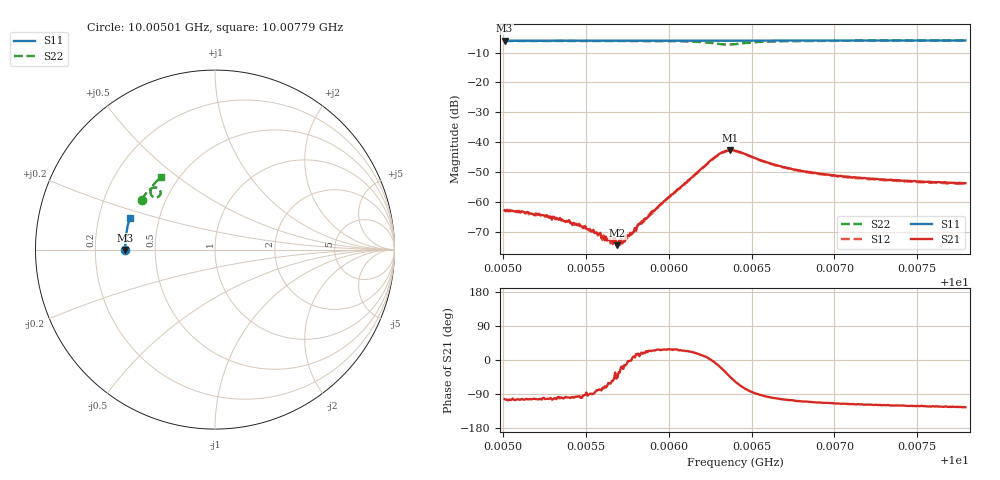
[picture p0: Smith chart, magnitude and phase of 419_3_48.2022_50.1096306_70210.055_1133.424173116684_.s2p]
#  HZ  S  RI  R  50.00
! Rohde & Schwarz Vector Network Analyzer
! Rohde-Schwarz,ZNB20-2Port,1311601062101988,3.16
! Created: UTC 3/20/2024, 11:54:52 AM
! freq[Hz]  re:S11  im:S11  re:S21  im:S21  re:S12  im:S12  re:S22  im:S22
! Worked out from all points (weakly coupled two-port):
!   401 points, 10.00501 GHz to 10.00779 GHz, reference 50 ohm
!   highest |S21| = -42.77 dB at 10.00637 GHz (marker M1); lowest = -74.6 dB at 10.00569 GHz (marker M2)
!   lowest |S11| = -6.0 dB at 10.00501 GHz (marker M3), VSWR 3.00, Z = 16.7 - j0.0757 ohm
!   |S11| at or under -10 dB: nowhere
!   |S22| runs from -7.3 to -6.0 dB; largest |S21 - S12| = 0.00042
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1.0005009e10  -0.4997 -0.0017  -0.000167 -0.000695  -0.000152 -0.000683  -0.409 0.278
1.0005086e10  -0.4999 0.00325  -0.000165 -0.000672  -0.000149 -0.00069  -0.4063 0.2826
1.0005253e10  -0.5001 0.014  -0.000131 -0.000565  -0.000101 -0.000551  -0.3999 0.2925
1.0005385e10  -0.5 0.0227  -7.35e-05 -0.000474  -5.12e-05 -0.000462  -0.3944 0.3002
1.0005475e10  -0.5 0.0286  -6.58e-05 -0.000378  -3.87e-05 -0.000372  -0.3904 0.3057
1.0005573e10  -0.4996 0.0349  4.92e-05 -0.00028  2.83e-05 -0.000269  -0.386 0.3115
1.0005607e10  -0.4995 0.037  6.65e-05 -0.00025  8.04e-05 -0.00026  -0.3842 0.3137
1.0005635e10  -0.4993 0.0389  0.000115 -0.000204  0.000135 -0.000182  -0.3827 0.3154
1.0005691e10  -0.4992 0.0424  0.000129 -0.000134  0.000137 -0.000115  -0.3799 0.3189
1.0005726e10  -0.4991 0.0447  0.000192 -8.37e-05  0.000232 -6.79e-05  -0.3779 0.321
1.0005746e10  -0.499 0.0463  0.000269 -5.06e-05  0.00024 7.8e-07  -0.3768 0.3224
1.0005788e10  -0.4988 0.0488  0.000302 4.97e-05  0.000326 6.44e-05  -0.3743 0.3248
1.0005823e10  -0.4988 0.0511  0.00041 7.15e-05  0.000377 0.000113  -0.3721 0.3273
1.0005941e10  -0.4979 0.0587  0.000754 0.000394  0.000729 0.000422  -0.3632 0.3349
1.0006268e10  -0.4953 0.0797  0.0053 -0.000326  0.00521 -6.72e-05  -0.3085 0.3341
1.0006324e10  -0.4948 0.083  0.00618 -0.00272  0.00615 -0.00238  -0.3035 0.3121
1.0006372e10  -0.4943 0.0859  0.00513 -0.00515  0.00529 -0.00481  -0.3164 0.2936
1.00064e10  -0.4941 0.0876  0.00396 -0.00595  0.00419 -0.00566  -0.3282 0.2901
1.0006657e10  -0.492 0.1041  -0.000808 -0.00396  -0.000612 -0.00392  -0.358 0.3319
1.0006866e10  -0.4896 0.1174  -0.0011 -0.00286  -0.000946 -0.00287  -0.3486 0.3522
1.0007332e10  -0.4826 0.1466  -0.00114 -0.00201  -0.00106 -0.00203  -0.3251 0.3809
1.0007791e10  -0.4741 0.175  -0.00116 -0.00168  -0.00105 -0.00168  -0.3017 0.4025
